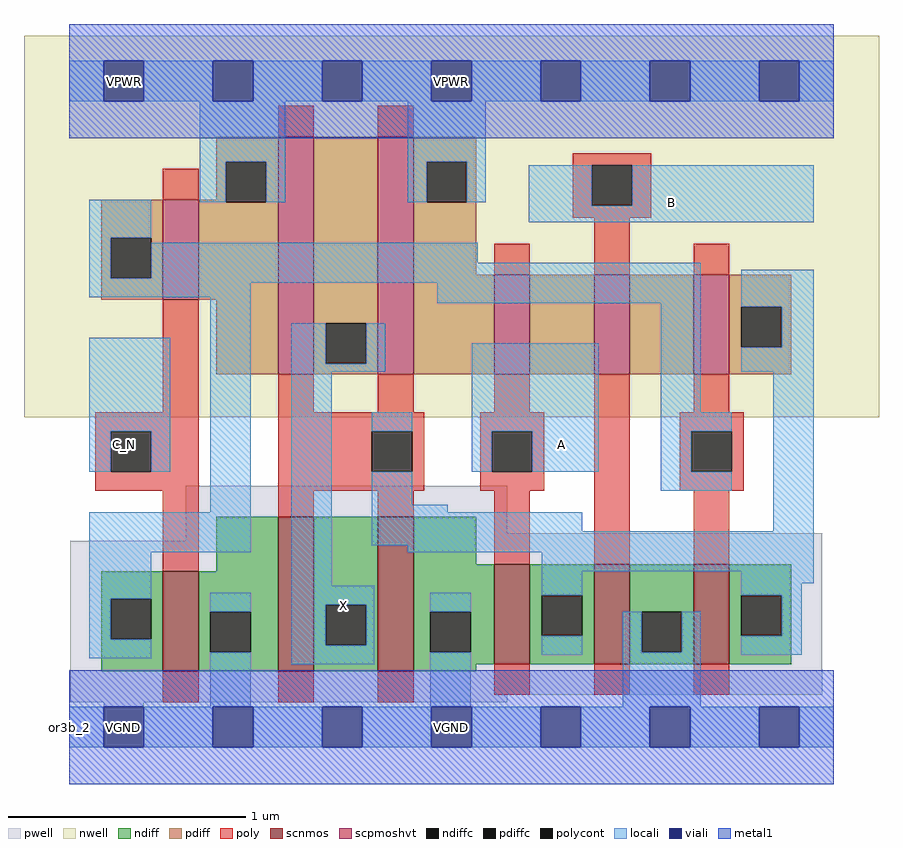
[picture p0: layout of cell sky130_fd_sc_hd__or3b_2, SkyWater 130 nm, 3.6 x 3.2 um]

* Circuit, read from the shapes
.subckt sky130_fd_sc_hd__or3b_2 A B C_N VGND VNB VPB VPWR X
XM1 VGND C_N n1 VNB sky130_fd_pr__nfet_01v8 w=0.42 l=0.15
XM2 X n2 VGND VNB sky130_fd_pr__nfet_01v8 w=0.65 l=0.15 m=2
XM3 n2 A VGND VNB sky130_fd_pr__nfet_01v8 w=0.42 l=0.15
XM4 VGND B n2 VNB sky130_fd_pr__nfet_01v8 w=0.42 l=0.15
XM5 n2 n1 VGND VNB sky130_fd_pr__nfet_01v8 w=0.42 l=0.15
XM6 VPWR C_N n1 VPB sky130_fd_pr__pfet_01v8_hvt w=0.42 l=0.15
XM7 X n2 VPWR VPB sky130_fd_pr__pfet_01v8_hvt w=1 l=0.15 m=2
XM8 n3 A VPWR VPB sky130_fd_pr__pfet_01v8_hvt w=0.42 l=0.15
XM9 n4 B n3 VPB sky130_fd_pr__pfet_01v8_hvt w=0.42 l=0.15
XM10 n2 n1 n4 VPB sky130_fd_pr__pfet_01v8_hvt w=0.42 l=0.15
.ends

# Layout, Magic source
magic
tech sky130B
magscale 1 2
<< nwell >>
rect -38 261 682 582
<< pwell >>
rect 98 163 369 203
rect 98 157 634 163
rect 1 27 634 157
rect 1 21 369 27
rect 29 -17 63 21
<< scnmos >>
rect 79 47 109 131
rect 176 47 206 177
rect 260 47 290 177
rect 358 53 388 137
rect 442 53 472 137
rect 526 53 556 137
<< scpmoshvt >>
rect 79 360 109 444
rect 176 297 206 497
rect 260 297 290 497
rect 358 297 388 381
rect 442 297 472 381
rect 526 297 556 381
<< ndiff >>
rect 124 131 176 177
rect 27 108 79 131
rect 27 74 35 108
rect 69 74 79 108
rect 27 47 79 74
rect 109 97 176 131
rect 109 63 119 97
rect 153 63 176 97
rect 109 47 176 63
rect 206 103 260 177
rect 206 69 216 103
rect 250 69 260 103
rect 206 47 260 69
rect 290 137 343 177
rect 290 97 358 137
rect 290 63 304 97
rect 338 63 358 97
rect 290 53 358 63
rect 388 111 442 137
rect 388 77 398 111
rect 432 77 442 111
rect 388 53 442 77
rect 472 97 526 137
rect 472 63 482 97
rect 516 63 526 97
rect 472 53 526 63
rect 556 111 608 137
rect 556 77 566 111
rect 600 77 608 111
rect 556 53 608 77
rect 290 47 343 53
<< pdiff >>
rect 124 476 176 497
rect 124 444 132 476
rect 27 412 79 444
rect 27 378 35 412
rect 69 378 79 412
rect 27 360 79 378
rect 109 442 132 444
rect 166 442 176 476
rect 109 360 176 442
rect 124 297 176 360
rect 206 340 260 497
rect 206 306 216 340
rect 250 306 260 340
rect 206 297 260 306
rect 290 476 343 497
rect 290 442 301 476
rect 335 442 343 476
rect 290 381 343 442
rect 290 297 358 381
rect 388 297 442 381
rect 472 297 526 381
rect 556 354 608 381
rect 556 320 566 354
rect 600 320 608 354
rect 556 297 608 320
<< ndiffc >>
rect 35 74 69 108
rect 119 63 153 97
rect 216 69 250 103
rect 304 63 338 97
rect 398 77 432 111
rect 482 63 516 97
rect 566 77 600 111
<< pdiffc >>
rect 35 378 69 412
rect 132 442 166 476
rect 216 306 250 340
rect 301 442 335 476
rect 566 320 600 354
<< poly >>
rect 176 497 206 523
rect 260 497 290 523
rect 79 444 109 470
rect 79 265 109 360
rect 424 473 490 483
rect 424 439 440 473
rect 474 439 490 473
rect 424 429 490 439
rect 358 381 388 407
rect 442 381 472 429
rect 526 381 556 407
rect 22 249 109 265
rect 22 215 35 249
rect 69 215 109 249
rect 22 199 109 215
rect 79 131 109 199
rect 176 265 206 297
rect 260 265 290 297
rect 358 265 388 297
rect 176 249 299 265
rect 176 215 255 249
rect 289 215 299 249
rect 176 199 299 215
rect 346 249 400 265
rect 346 215 356 249
rect 390 215 400 249
rect 346 199 400 215
rect 176 177 206 199
rect 260 177 290 199
rect 358 137 388 199
rect 442 137 472 297
rect 526 265 556 297
rect 514 249 568 265
rect 514 215 524 249
rect 558 215 568 249
rect 514 199 568 215
rect 526 137 556 199
rect 79 21 109 47
rect 176 21 206 47
rect 260 21 290 47
rect 358 27 388 53
rect 442 27 472 53
rect 526 27 556 53
<< polycont >>
rect 440 439 474 473
rect 35 215 69 249
rect 255 215 289 249
rect 356 215 390 249
rect 524 215 558 249
<< locali >>
rect 0 527 29 561
rect 63 527 121 561
rect 155 527 213 561
rect 247 527 305 561
rect 339 527 397 561
rect 431 527 489 561
rect 523 527 581 561
rect 615 527 644 561
rect 110 476 182 527
rect 17 412 69 444
rect 110 442 132 476
rect 166 442 182 476
rect 285 476 351 527
rect 285 442 301 476
rect 335 442 351 476
rect 387 439 440 473
rect 474 439 627 473
rect 387 425 627 439
rect 17 378 35 412
rect 69 391 344 408
rect 69 378 532 391
rect 17 374 532 378
rect 17 362 153 374
rect 17 249 85 328
rect 17 215 35 249
rect 69 215 85 249
rect 119 181 153 362
rect 310 357 532 374
rect 17 147 153 181
rect 187 306 216 340
rect 250 306 266 340
rect 187 299 266 306
rect 17 108 69 147
rect 187 119 221 299
rect 255 249 289 265
rect 339 249 446 323
rect 339 215 356 249
rect 390 215 446 249
rect 498 265 532 357
rect 566 354 627 385
rect 600 320 627 354
rect 566 299 627 320
rect 498 249 558 265
rect 498 215 524 249
rect 255 187 289 215
rect 498 199 558 215
rect 255 181 319 187
rect 255 165 432 181
rect 593 165 627 299
rect 255 153 627 165
rect 285 147 627 153
rect 398 131 627 147
rect 17 74 35 108
rect 17 58 69 74
rect 119 97 153 113
rect 119 17 153 63
rect 187 103 257 119
rect 187 69 216 103
rect 250 69 257 103
rect 187 53 257 69
rect 304 97 338 113
rect 304 17 338 63
rect 398 111 432 131
rect 566 121 627 131
rect 566 111 617 121
rect 398 61 432 77
rect 466 63 482 97
rect 516 63 532 97
rect 466 17 532 63
rect 600 77 617 111
rect 566 61 617 77
rect 0 -17 29 17
rect 63 -17 121 17
rect 155 -17 213 17
rect 247 -17 305 17
rect 339 -17 397 17
rect 431 -17 489 17
rect 523 -17 581 17
rect 615 -17 644 17
<< viali >>
rect 29 527 63 561
rect 121 527 155 561
rect 213 527 247 561
rect 305 527 339 561
rect 397 527 431 561
rect 489 527 523 561
rect 581 527 615 561
rect 29 -17 63 17
rect 121 -17 155 17
rect 213 -17 247 17
rect 305 -17 339 17
rect 397 -17 431 17
rect 489 -17 523 17
rect 581 -17 615 17
<< metal1 >>
rect 0 561 644 592
rect 0 527 29 561
rect 63 527 121 561
rect 155 527 213 561
rect 247 527 305 561
rect 339 527 397 561
rect 431 527 489 561
rect 523 527 581 561
rect 615 527 644 561
rect 0 496 644 527
rect 0 17 644 48
rect 0 -17 29 17
rect 63 -17 121 17
rect 155 -17 213 17
rect 247 -17 305 17
rect 339 -17 397 17
rect 431 -17 489 17
rect 523 -17 581 17
rect 615 -17 644 17
rect 0 -48 644 -17
<< labels >>
flabel locali s 398 221 432 255 0 FreeSans 400 0 0 0 A
port 1 nsew signal input
flabel locali s 490 425 524 459 0 FreeSans 400 180 0 0 B
port 2 nsew signal input
flabel locali s 30 221 64 255 0 FreeSans 400 0 0 0 C_N
port 3 nsew signal input
flabel locali s 214 85 248 119 0 FreeSans 200 180 0 0 X
port 8 nsew signal output
flabel metal1 s 30 527 64 561 0 FreeSans 200 0 0 0 VPWR
port 7 nsew power bidirectional abutment
flabel metal1 s 29 -17 63 17 0 FreeSans 200 0 0 0 VGND
port 4 nsew ground bidirectional abutment
flabel nwell s 30 527 64 561 0 FreeSans 200 0 0 0 VPB
port 6 nsew power bidirectional
flabel pwell s 29 -17 63 17 0 FreeSans 200 0 0 0 VNB
port 5 nsew ground bidirectional
rlabel comment s 0 0 0 0 4 or3b_2
rlabel metal1 s 0 -48 644 48 1 VGND
port 4 nsew ground bidirectional abutment
rlabel metal1 s 0 496 644 592 1 VPWR
port 7 nsew power bidirectional abutment
<< properties >>
string FIXED_BBOX 0 0 644 544
string GDS_END 1041732
string GDS_FILE $PDKPATH/libs.ref/sky130_fd_sc_hd/gds/sky130_fd_sc_hd.gds
string GDS_START 1035942
string LEFclass CORE
string LEFsite unithd
string LEFsymmetry X Y R90
string path 0.000 2.720 3.220 2.720 
<< end >>
